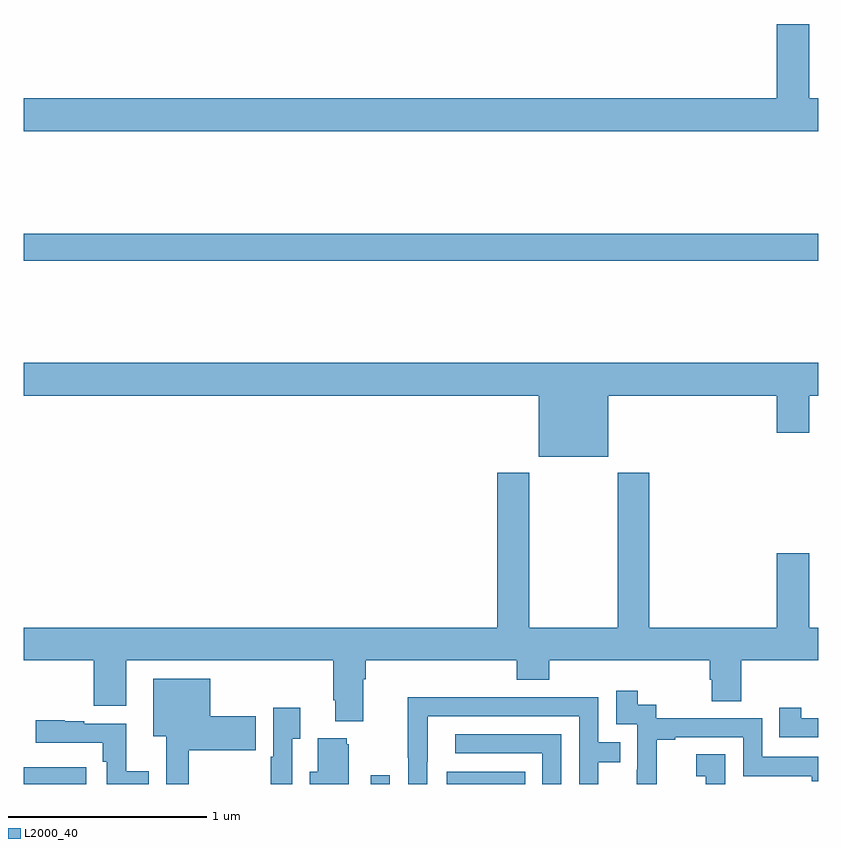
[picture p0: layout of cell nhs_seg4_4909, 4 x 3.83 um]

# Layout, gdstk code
import gdstk
lib = gdstk.Library(unit=1e-6, precision=1e-09)
def R(c, l, rs):  # rectangles x0, y0, x1, y1
    for r in rs: c.add(gdstk.rectangle(r[:2], r[2:], *l))
def P(c, l, *ps):  # polygons
    for p in ps: c.add(gdstk.Polygon(p, *l))
L2000_40 = (2000, 40)

nhs_seg4_4909 = lib.new_cell('nhs_seg4_4909')
R(nhs_seg4_4909, L2000_40, [(377,758.9,377.314,758.985), (378.747,758.9,378.843,758.944), (379.13,758.9,379.526,758.962), (377,761.536,381,761.672)])
P(nhs_seg4_4909, L2000_40, [(381,762.352),(380.956,762.352),(380.956,762.727),(380.792,762.727),(380.792,762.352),(377,762.352),(377,762.188),(381,762.188)],
  [(379.942,760.856),(380.792,760.856),(380.792,760.668),(380.956,760.668),(380.956,760.856),(381,760.856),(381,761.02),(377,761.02),(377,760.856),(379.592,760.856),(379.592,760.547),(379.942,760.547)],
  [(378.709,759.428),(378.722,759.428),(378.722,759.524),(379.481,759.524),(379.481,759.425),(379.646,759.425),(379.646,759.524),(380.453,759.524),(380.453,759.426),(380.465,759.426),(380.465,759.316),(380.613,759.316),(380.613,759.524),(381,759.524),(381,759.688),(380.956,759.688),(380.956,760.063),(380.792,760.063),(380.792,759.688),(380.15,759.688),(380.15,760.468),(379.99,760.468),(379.99,759.688),(379.545,759.688),(379.545,760.468),(379.385,760.468),(379.385,759.688),(377,759.688),(377,759.524),(377.351,759.524),(377.351,759.294),(377.515,759.294),(377.515,759.524),(378.557,759.524),(378.557,759.322),(378.569,759.322),(378.569,759.215),(378.709,759.215)],
  [(377.831,759.071),(378.169,759.071),(378.169,759.241),(377.938,759.241),(377.938,759.43),(377.651,759.43),(377.651,759.14),(377.717,759.14),(377.717,758.9),(377.831,758.9)],
  [(380.186,759.123),(380.281,759.123),(380.281,759.135),(380.622,759.135),(380.622,758.94),(380.967,758.94),(380.967,758.913),(381,758.913),(381,759.036),(380.718,759.036),(380.718,759.231),(380.184,759.231),(380.184,759.3),(380.092,759.3),(380.092,759.37),(379.983,759.37),(379.983,759.201),(380.088,759.201),(380.088,758.972),(380.087,758.972),(380.087,758.9),(380.186,758.9)],
  [(379.032,759.013),(379.033,759.013),(379.033,759.24),(379.797,759.24),(379.797,758.9),(379.893,758.9),(379.893,759.01),(380.003,759.01),(380.003,759.111),(379.893,759.111),(379.893,759.336),(379.397,759.336),(379.397,759.338),(378.934,759.338),(378.934,759.031),(378.936,759.031),(378.936,758.9),(379.032,758.9)],
  [(381,759.231),(380.914,759.231),(380.914,759.283),(380.803,759.283),(380.803,759.135),(381,759.135)],
  [(378.351,759.127),(378.391,759.127),(378.391,759.283),(378.255,759.283),(378.255,759.038),(378.243,759.038),(378.243,758.9),(378.351,758.9)],
  [(377.629,758.964),(377.515,758.964),(377.515,759.204),(377.305,759.204),(377.305,759.217),(377.205,759.217),(377.205,759.222),(377.061,759.222),(377.061,759.108),(377.398,759.108),(377.398,759.011),(377.418,759.011),(377.418,758.9),(377.629,758.9)],
  [(379.707,759.15),(379.173,759.15),(379.173,759.054),(379.611,759.054),(379.611,758.9),(379.707,758.9)],
  [(378.637,759.099),(378.626,759.099),(378.626,759.13),(378.479,759.13),(378.479,758.962),(378.44,758.962),(378.44,758.9),(378.637,758.9)],
  [(380.532,759.049),(380.385,759.049),(380.385,758.939),(380.434,758.939),(380.434,758.9),(380.532,758.9)])

lib.write_gds('nhs_seg4_4909.gds')
